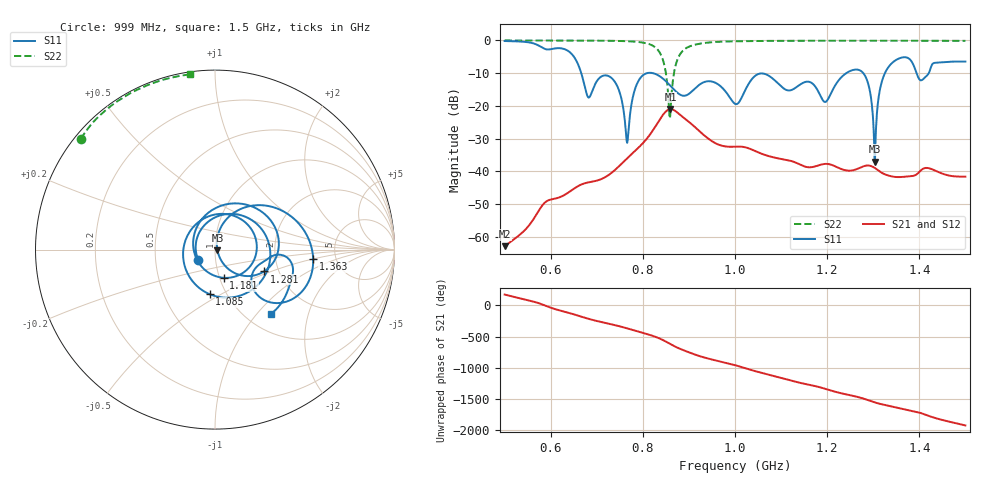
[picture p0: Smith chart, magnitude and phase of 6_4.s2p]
! TOUCHSTONE file generated by CST MICROWAVE STUDIO
! Date and time: Sat Nov 14 19:59:08 2020
! Project name: Scenario_1_Planar_Body_Tissue_Out_of_Line.cst
! Parameters = {dy1=259.5; L_HA=400; Ltissue=700; MT=2.54; Rad_Dielectric=30; Rad_Lower=7.3; Rad_Upper=30; Wtissue=700; a_HA=580; a_WG=246; b_HA=500; b_WG=121; c_HA=0; c_WG=187; d_feed=85; dx1=693; h_feed=15; h_lower=18; h_upper=40; hfat=3; hgap=25; hmuscle=50; hskin=1.5}
! Header version: 2018
! Port assignment regex: !\s*Touchstone port\s*([0-9]+)\s*=\s*(CST MWS port|CST DS port)\s*([0-9]+|Zmin|Zmax)\s*\(\"(.*)\"\)(\s*mode\s*([0-9]+))?.*
! Touchstone port assignment:
! Touchstone port 1 = CST MWS port 1 ("")
! Touchstone port 2 = CST MWS port 2 ("")
# GHz S DB R 50
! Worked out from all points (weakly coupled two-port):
!   1003 points, 500 MHz to 1.5 GHz, reference 50 ohm
!   highest |S21| = -20.97 dB at 860 MHz (marker M1); lowest = -62.8 dB at 500 MHz (marker M2)
!   lowest |S11| = -37.0 dB at 1.303 GHz (marker M3), VSWR 1.03, Z = 51.4 - j0.406 ohm
!   |S11| at or under -10 dB: 666.3 MHz to 808.9 MHz (142.6 MHz wide, 19.3 % of centre); 822 MHz to 1.241 GHz (419.5 MHz wide, 40.7 % of centre); 1.278 GHz to 1.325 GHz (46.86 MHz wide, 3.6 % of centre) (the widest 3 of 4)
!   |S22| runs from -23.8 to 0.0 dB; largest |S21 - S12| = 4.6e-06
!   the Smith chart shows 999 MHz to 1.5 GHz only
!   S11 on the Smith chart (normalised r, x): 999 MHz: 0.83, -0.10; 1.085 GHz: 0.84, -0.44; 1.181 GHz: 1.05, -0.34; 1.281 GHz: 1.68, -0.45; 1.363 GHz: 3.35, -0.52; 1.5 GHz: 1.30, -1.19
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0.5  -0.18 -121.7  -62.84 173.5  -62.83 173.5  -0.01 151.2
0.62  -2.37 174.3  -47.87 -81.7  -47.87 -81.7  -0.02 142.6
0.667  -10.31 113.3  -43.97 178.6  -43.97 178.6  -0.04 138.4
0.736  -12.03 115.0  -39.99 49.9  -39.99 49.9  -0.12 130.0
0.766  -31.28 -34.5  -35.99 -7.5  -35.99 -7.5  -0.24 124.2
0.791  -12.23 179.9  -32.69 -60.4  -32.69 -60.4  -0.49 116.8
0.834  -10.71 68.2  -24.76 -162.5  -24.76 -162.5  -3.14 84.8
0.86  -13.89 -4.0  -20.97 100.2  -20.97 100.2  -21.74 -90.7
0.888  -16.90 -105.5  -23.50 3.2  -23.50 3.2  -2.99 178.6
0.999  -19.26 -147.9  -32.45 125.7  -32.45 125.7  -0.27 140.5
1  -19.35 -153.4  -32.44 123.7  -32.44 123.7  -0.27 140.3
1.052  -10.19 -4.6  -34.28 11.7  -34.28 11.7  -0.16 134.3
1.085  -12.03 -96.8  -35.76 -50.8  -35.76 -50.8  -0.13 131.1
1.134  -14.19 90.3  -37.44 -146.2  -37.44 -146.2  -0.11 126.9
1.167  -13.04 -18.0  -38.69 160.5  -38.69 160.5  -0.09 124.3
1.181  -15.67 -72.9  -38.17 136.4  -38.17 136.4  -0.09 123.2
1.232  -11.08 67.3  -39.34 31.0  -39.34 31.0  -0.08 119.3
1.281  -10.49 -24.1  -38.34 -56.5  -38.34 -56.5  -0.09 115.6
1.303  -36.98 -16.2  -38.91 -111.1  -38.91 -111.1  -0.09 114.0
1.334  -7.95 36.2  -41.31 -167.5  -41.31 -167.5  -0.09 111.6
1.363  -5.20 -5.6  -41.69 146.2  -41.69 146.2  -0.09 109.4
1.5  -6.46 -48.6  -41.61 -121.1  -41.61 -121.1  -0.13 98.0
